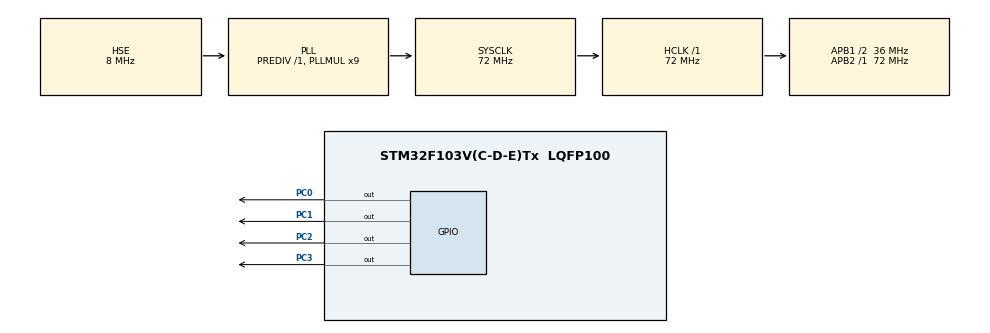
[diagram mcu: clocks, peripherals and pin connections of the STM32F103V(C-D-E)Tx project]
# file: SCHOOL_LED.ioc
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Mcu.Family=STM32F1
Mcu.Name=STM32F103V(C-D-E)Tx
Mcu.Package=LQFP100
NVIC.PriorityGroup=NVIC_PRIORITYGROUP_4
NVIC.TIM2_IRQn=true\:0\:0\:false\:false\:true\:true\:true
OSC_IN.Mode=HSE-External-Oscillator
OSC_IN.Signal=RCC_OSC_IN
OSC_OUT.Mode=HSE-External-Oscillator
OSC_OUT.Signal=RCC_OSC_OUT
PC0.GPIO_PuPd=GPIO_PULLUP
PC0.GPIO_Speed=GPIO_SPEED_FREQ_HIGH
PC0.PinState=GPIO_PIN_SET
PC0.Signal=GPIO_Output
PC1.GPIO_PuPd=GPIO_PULLUP
PC1.GPIO_Speed=GPIO_SPEED_FREQ_HIGH
PC1.PinState=GPIO_PIN_SET
PC1.Signal=GPIO_Output
PC2.GPIO_PuPd=GPIO_PULLUP
PC2.GPIO_Speed=GPIO_SPEED_FREQ_HIGH
PC2.PinState=GPIO_PIN_SET
PC2.Signal=GPIO_Output
PC3.GPIO_PuPd=GPIO_PULLUP
PC3.GPIO_Speed=GPIO_SPEED_FREQ_HIGH
PC3.PinState=GPIO_PIN_SET
PC3.Signal=GPIO_Output
ProjectManager.HeapSize=0x200
ProjectManager.StackSize=0x400
ProjectManager.TargetToolchain=MDK-ARM V5
RCC.AHBFreq_Value=72000000
RCC.APB1CLKDivider=RCC_HCLK_DIV2
RCC.APB1Freq_Value=36000000
RCC.APB1TimFreq_Value=72000000
RCC.APB2Freq_Value=72000000
RCC.APB2TimFreq_Value=72000000
RCC.HCLKFreq_Value=72000000
RCC.PLLMUL=RCC_PLL_MUL9
RCC.PLLSourceVirtual=RCC_PLLSOURCE_HSE
RCC.SYSCLKFreq_VALUE=72000000
RCC.SYSCLKSource=RCC_SYSCLKSOURCE_PLLCLK
RCC.USBFreq_Value=72000000
TIM2.AutoReloadPreload=TIM_AUTORELOAD_PRELOAD_ENABLE
TIM2.Period=2999
TIM2.Prescaler=5999
VP_SYS_VS_ND.Mode=No_Debug
VP_TIM2_VS_ClockSourceINT.Mode=Internal
board=custom

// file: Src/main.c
/* USER CODE BEGIN Header */
/**
  ******************************************************************************
  * @file           : main.c
  * @brief          : Main program body
  ******************************************************************************
  * @attention
  *
  * <h2><center>&copy; Copyright (c) 2021 STMicroelectronics.
  * All rights reserved.</center></h2>
  *
  * This software component is licensed by ST under BSD 3-Clause license,
  * the "License"; You may not use this file except in compliance with the
  * License. You may obtain a copy of the License at:
  *                        opensource.org/licenses/BSD-3-Clause
  *
  ******************************************************************************
  */
/* USER CODE END Header */

#include "main.h"
#include "tim.h"
#include "gpio.h"

void SystemClock_Config(void);

int main(void)
{

  /* MCU Configuration--------------------------------------------------------*/

  /* Reset of all peripherals, Initializes the Flash interface and the Systick. */
  HAL_Init();

  /* Configure the system clock */
  SystemClock_Config();

  /* Initialize all configured peripherals */
  MX_GPIO_Init();
  MX_TIM2_Init();
  /* USER CODE BEGIN 2 */
	HAL_GPIO_TogglePin(GPIOC,GPIO_PIN_3);
HAL_TIM_Base_Start_IT(&htim2); //?????2????

  /* USER CODE END 2 */

  /* Infinite loop */
  while (1)
  {

  }
}

void SystemClock_Config(void)
{
  RCC_OscInitTypeDef RCC_OscInitStruct = {0};
  RCC_ClkInitTypeDef RCC_ClkInitStruct = {0};

  /** Initializes the CPU, AHB and APB busses clocks
  */
  RCC_OscInitStruct.OscillatorType = RCC_OSCILLATORTYPE_HSE;
  RCC_OscInitStruct.HSEState = RCC_HSE_ON;
  RCC_OscInitStruct.HSEPredivValue = RCC_HSE_PREDIV_DIV1;
  RCC_OscInitStruct.HSIState = RCC_HSI_ON;
  RCC_OscInitStruct.PLL.PLLState = RCC_PLL_ON;
  RCC_OscInitStruct.PLL.PLLSource = RCC_PLLSOURCE_HSE;
  RCC_OscInitStruct.PLL.PLLMUL = RCC_PLL_MUL9;
  if (HAL_RCC_OscConfig(&RCC_OscInitStruct) != HAL_OK)
  {
    Error_Handler();
  }
  /** Initializes the CPU, AHB and APB busses clocks
  */
  RCC_ClkInitStruct.ClockType = RCC_CLOCKTYPE_HCLK|RCC_CLOCKTYPE_SYSCLK
                              |RCC_CLOCKTYPE_PCLK1|RCC_CLOCKTYPE_PCLK2;
  RCC_ClkInitStruct.SYSCLKSource = RCC_SYSCLKSOURCE_PLLCLK;
  RCC_ClkInitStruct.AHBCLKDivider = RCC_SYSCLK_DIV1;
  RCC_ClkInitStruct.APB1CLKDivider = RCC_HCLK_DIV2;
  RCC_ClkInitStruct.APB2CLKDivider = RCC_HCLK_DIV1;

  if (HAL_RCC_ClockConfig(&RCC_ClkInitStruct, FLASH_LATENCY_2) != HAL_OK)
  {
    Error_Handler();
  }
}

/* USER CODE BEGIN 4 */
int i=0;
void HAL_TIM_PeriodElapsedCallback(TIM_HandleTypeDef *htim)
{
if(htim == &htim2){
		switch(i){
			case 0:
				HAL_GPIO_TogglePin(GPIOC,GPIO_PIN_3);
				HAL_GPIO_TogglePin(GPIOC,GPIO_PIN_0);
			break;
			case 1:
				HAL_GPIO_TogglePin(GPIOC,GPIO_PIN_0);
				HAL_GPIO_TogglePin(GPIOC,GPIO_PIN_1);
			break;
			case 2:
				HAL_GPIO_TogglePin(GPIOC,GPIO_PIN_1);
				HAL_GPIO_TogglePin(GPIOC,GPIO_PIN_2);
			break;
			case 3:
				HAL_GPIO_TogglePin(GPIOC,GPIO_PIN_2);
				HAL_GPIO_TogglePin(GPIOC,GPIO_PIN_3);
			break;
		}
		i++;
		if(i>=4)i=0;
}

}
/* USER CODE END 4 */

void Error_Handler(void)
{
}

/************************ (C) COPYRIGHT STMicroelectronics *****END OF FILE****/
